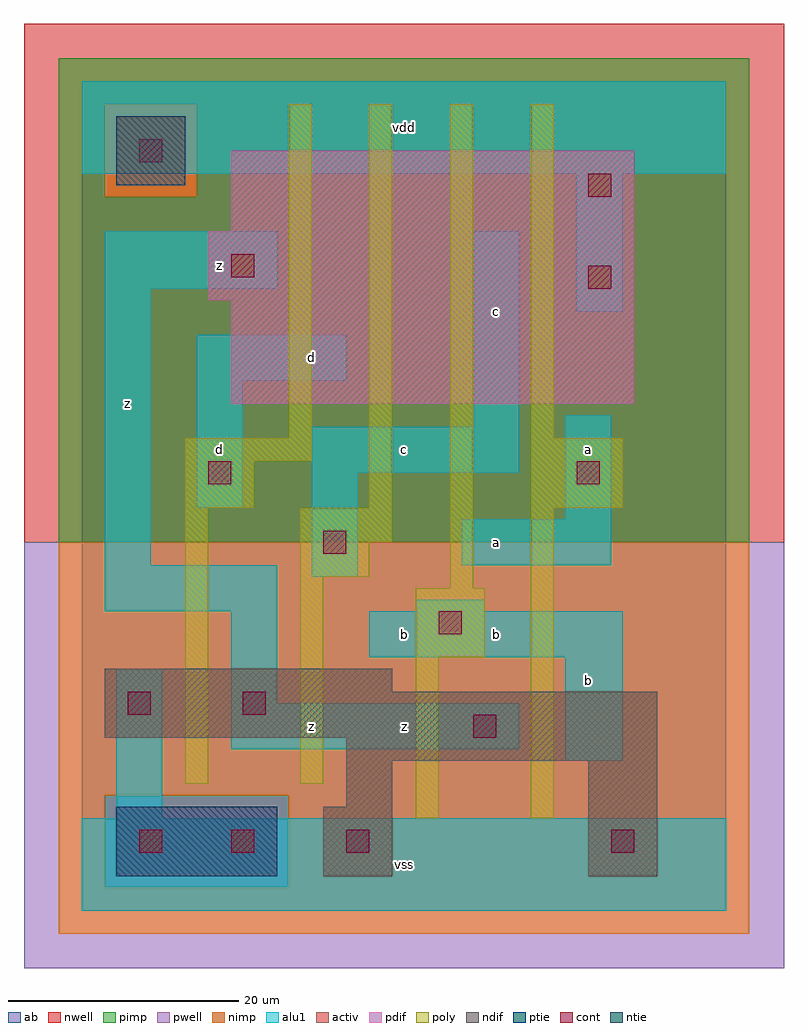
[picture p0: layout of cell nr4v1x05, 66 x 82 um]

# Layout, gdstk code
import gdstk
lib = gdstk.Library(unit=1e-6, precision=1e-09)
def R(c, l, rs):  # rectangles x0, y0, x1, y1
    for r in rs: c.add(gdstk.rectangle(r[:2], r[2:], *l))
ndif = (3, 0)
pdif = (4, 0)
ntie = (5, 0)
ptie = (6, 0)
cont = (25, 0)
pwell = (41, 0)
nwell = (42, 0)
activ = (43, 0)
pimp = (44, 0)
nimp = (45, 0)
poly = (46, 0)
alu1 = (49, 0)
ab = (63, 0)

nr4v1x05 = lib.new_cell('nr4v1x05')
R(nr4v1x05, ndif, [(21,3,27,9), (44,3,50,13), (23,9,27,13), (23,13,50,15), (2,15,50,19), (2,19,27,21)])
R(nr4v1x05, pdif, [(13,44,48,53), (11,53,48,59), (13,59,48,66)])
R(nr4v1x05, ntie, [(3,63,9,69)])
R(nr4v1x05, ptie, [(3,3,17,9)])
R(nr4v1x05, cont, [(5,5,7,7), (13,5,15,7), (23,5,25,7), (46,5,48,7), (34,15,36,17), (4,17,6,19), (14,17,16,19), (31,24,33,26), (21,31,23,33), (11,37,13,39), (43,37,45,39), (44,54,46,56), (13,55,15,57), (44,62,46,64), (5,65,7,67)])
R(nr4v1x05, pwell, [(-5,-5,61,32)])
R(nr4v1x05, nwell, [(-5,32,61,77)])
R(nr4v1x05, activ, [(3,3,17,9), (21,3,27,9), (44,3,50,13), (23,9,27,13), (23,13,50,15), (2,15,50,19), (2,19,27,21), (13,44,48,53), (11,53,48,59), (13,59,48,66), (3,63,9,69)])
R(nr4v1x05, pimp, [(2,2,18,10), (-2,32,58,62), (-2,62,2,70), (10,62,58,70), (-2,70,58,74)])
R(nr4v1x05, nimp, [(-2,-2,58,2), (-2,2,2,10), (18,2,58,10), (-2,10,58,32), (2,62,10,70)])
R(nr4v1x05, poly, [(29,8,31,22), (39,8,41,35), (9,11,11,35), (19,11,21,29), (29,22,35,28), (32,28,34,70), (19,29,25,32), (19,32,27,35), (9,35,15,39), (25,35,27,70), (39,35,47,41), (9,39,20,41), (18,41,20,70), (39,41,41,70)])
R(nr4v1x05, alu1, [(0,0,56,8), (3,8,7,21), (42,13,47,22), (13,14,38,18), (13,18,17,26), (25,22,47,26), (2,26,17,30), (29,26,35,27), (20,29,24,38), (2,30,6,54), (33,30,46,34), (42,34,46,43), (10,35,14,46), (20,38,38,42), (34,42,38,59), (10,46,23,50), (43,52,47,64), (2,54,17,59), (0,64,56,72)])
R(nr4v1x05, ab, [(0,0,56,72)])
nr4v1x05.add(gdstk.Label('z', (4,44), layer=49, texttype=0))
nr4v1x05.add(gdstk.Label('z', (20,16), layer=49, texttype=0))
nr4v1x05.add(gdstk.Label('d', (12,40), layer=49, texttype=0))
nr4v1x05.add(gdstk.Label('d', (20,48), layer=49, texttype=0))
nr4v1x05.add(gdstk.Label('z', (12,56), layer=49, texttype=0))
nr4v1x05.add(gdstk.Label('vss', (28,4), layer=49, texttype=0))
nr4v1x05.add(gdstk.Label('z', (28,16), layer=49, texttype=0))
nr4v1x05.add(gdstk.Label('b', (28,24), layer=49, texttype=0))
nr4v1x05.add(gdstk.Label('a', (36,32), layer=49, texttype=0))
nr4v1x05.add(gdstk.Label('b', (36,24), layer=49, texttype=0))
nr4v1x05.add(gdstk.Label('c', (28,40), layer=49, texttype=0))
nr4v1x05.add(gdstk.Label('c', (36,52), layer=49, texttype=0))
nr4v1x05.add(gdstk.Label('vdd', (28,68), layer=49, texttype=0))
nr4v1x05.add(gdstk.Label('b', (44,20), layer=49, texttype=0))
nr4v1x05.add(gdstk.Label('a', (44,40), layer=49, texttype=0))

lib.write_gds('nr4v1x05.gds')
